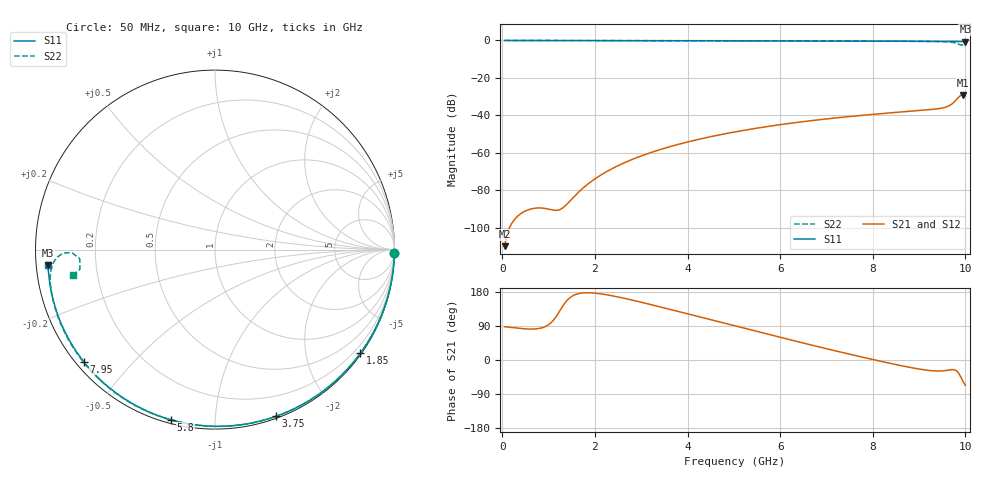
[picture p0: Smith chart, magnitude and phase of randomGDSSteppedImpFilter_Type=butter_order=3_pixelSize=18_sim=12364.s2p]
! freq	dB(S11)	phase(S11)	dB(S12)	phase(S12)
!  dB(S21)	phase(S21)	dB(S22)	phase(S22)
!S-par simulation data
#  GHz  S  DB  R 50
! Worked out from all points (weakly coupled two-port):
!   200 points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, 50 MHz to 10 GHz, reference 50 ohm
!   highest |S21| = -29.10 dB at 9.95 GHz (marker M1); lowest = -109.8 dB at 50 MHz (marker M2)
!   lowest |S11| = -0.6 dB at 10 GHz (marker M3), VSWR 30.03, Z = 1.67 - j2.27 ohm
!   |S11| at or under -10 dB: nowhere
!   |S22| runs from -2.4 to 0.0 dB; largest |S21 - S12| = 0
!   S11 on the Smith chart (normalised r, x): 50 MHz: open; 1.85 GHz: 0.03, -3.13; 3.75 GHz: 0.02, -1.43; 5.8 GHz: 0.02, -0.77; 7.95 GHz: 0.02, -0.37; 10 GHz: 0.03, -0.05
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0.05  -0.00 -1.0  -109.83 87.7  -109.83 87.7  -0.00 -1.0
0.85  -0.02 -16.5  -89.47 84.7  -89.47 84.7  -0.02 -17.4
1.65  -0.04 -31.7  -80.90 175.3  -80.90 175.3  -0.04 -33.5
1.7  -0.04 -32.6  -79.74 176.5  -79.74 176.5  -0.04 -34.5
1.75  -0.04 -33.6  -78.65 177.2  -78.65 177.2  -0.05 -35.5
1.85  -0.05 -35.5  -76.62 177.6  -76.62 177.6  -0.05 -37.5
2.15  -0.05 -41.1  -71.51 174.2  -71.51 174.2  -0.06 -43.3
2.5  -0.06 -47.5  -66.85 166.3  -66.85 166.3  -0.06 -50.1
2.9  -0.07 -54.8  -62.60 155.3  -62.60 155.3  -0.07 -57.7
3.4  -0.08 -63.8  -58.32 140.4  -58.32 140.4  -0.09 -67.0
3.75  -0.10 -69.9  -55.81 129.6  -55.81 129.6  -0.10 -73.4
5.05  -0.14 -92.2  -48.71 89.1  -48.71 89.1  -0.15 -96.1
5.8  -0.18 -104.6  -45.68 65.9  -45.68 65.9  -0.18 -108.6
6.7  -0.24 -119.2  -42.74 38.7  -42.74 38.7  -0.24 -123.2
7.95  -0.34 -139.5  -39.57 2.6  -39.57 2.6  -0.34 -143.2
8.35  -0.38 -146.1  -38.71 -8.2  -38.71 -8.2  -0.38 -149.7
9.55  -0.53 -166.7  -35.79 -28.2  -35.79 -28.2  -0.66 -171.5
9.7  -0.55 -169.4  -34.10 -25.5  -34.10 -25.5  -0.91 -175.7
9.85  -0.57 -172.0  -30.36 -33.9  -30.36 -33.9  -1.95 -178.9
9.9  -0.57 -172.9  -29.32 -44.6  -29.32 -44.6  -2.44 -176.2
9.95  -0.58 -173.8  -29.10 -57.0  -29.10 -57.0  -2.38 -171.8
10  -0.58 -174.8  -29.57 -67.2  -29.57 -67.2  -1.91 -169.8
